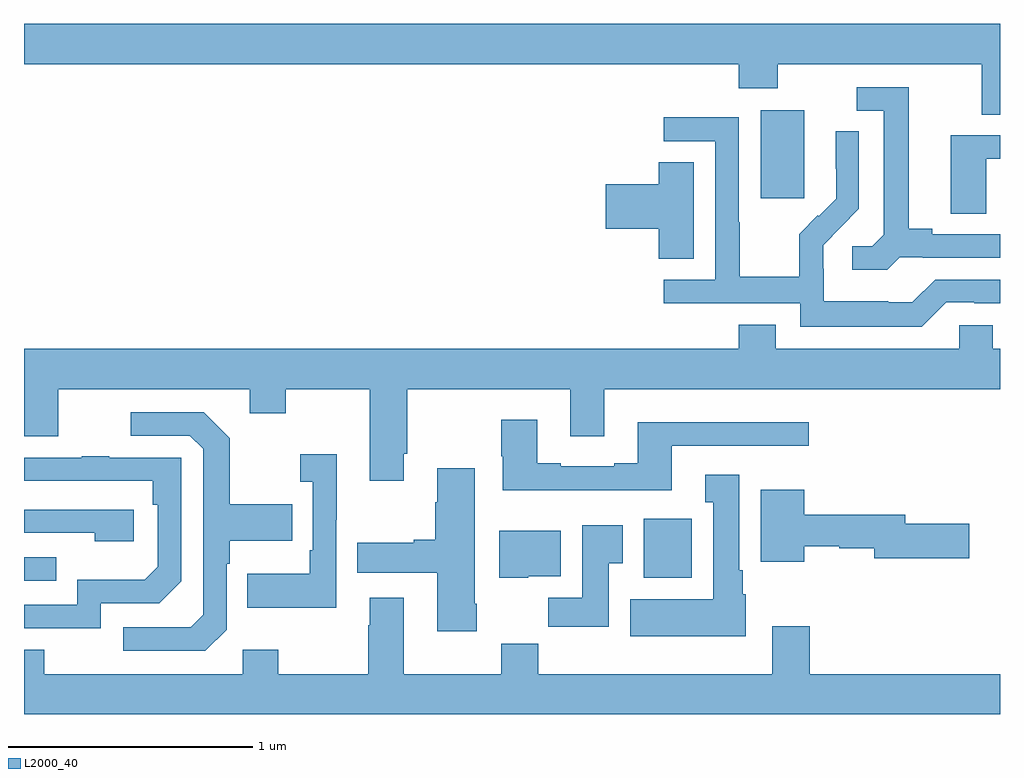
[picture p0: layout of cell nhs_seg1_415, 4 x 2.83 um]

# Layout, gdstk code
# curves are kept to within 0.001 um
import gdstk
lib = gdstk.Library(unit=1e-6, precision=1e-09)
def R(c, l, rs):  # rectangles x0, y0, x1, y1
    for r in rs: c.add(gdstk.rectangle(r[:2], r[2:], *l))
def P(c, l, *ps):  # polygons
    for p in ps: c.add(gdstk.Polygon(p, *l))
L2000_40 = (2000, 40)

nhs_seg1_415 = lib.new_cell('nhs_seg1_415')
R(nhs_seg1_415, L2000_40, [(133,566.931,133.133,567.027), (135.539,566.942,135.736,567.184), (136.019,568.497,136.198,568.858)])
P(nhs_seg1_415, L2000_40, [(137,569.212),(133,569.212),(133,569.048),(135.929,569.048),(135.929,568.949),(136.089,568.949),(136.089,569.048),(136.925,569.048),(136.925,568.84),(137,568.84)],
  [(136.59,568.257),(136.684,568.257),(136.684,568.254),(137,568.254),(137,568.35),(136.723,568.35),(136.723,568.373),(136.627,568.373),(136.627,568.953),(136.413,568.953),(136.413,568.857),(136.523,568.857),(136.523,568.349),(136.476,568.302),(136.395,568.302),(136.395,568.205),(136.538,568.205)],
  [(136.779,568.071),(136.895,568.071),(136.895,568.068),(137,568.068),(137,568.164),(136.734,568.164),(136.641,568.071),(136.541,568.071),(136.541,568.075),(136.278,568.075),(136.278,568.209),(136.276,568.209),(136.276,568.306),(136.422,568.454),(136.422,568.772),(136.326,568.772),(136.326,568.618),(136.328,568.618),(136.328,568.496),(136.257,568.425),(136.254,568.428),(136.177,568.351),(136.177,568.177),(135.933,568.177),(135.933,568.4),(135.93,568.4),(135.93,568.83),(135.621,568.83),(135.621,568.731),(135.834,568.731),(135.834,568.164),(135.621,568.164),(135.621,568.068),(136.182,568.068),(136.182,567.971),(136.679,567.971)],
  [(136.944,568.659),(137,568.659),(137,568.755),(136.799,568.755),(136.799,568.435),(136.944,568.435)],
  [(135.745,568.646),(135.602,568.646),(135.602,568.556),(135.384,568.556),(135.384,568.373),(135.602,568.373),(135.602,568.249),(135.745,568.249)],
  [(134.557,567.451),(134.57,567.451),(134.57,567.716),(135.239,567.716),(135.239,567.522),(135.379,567.522),(135.379,567.716),(137,567.716),(137,567.88),(136.971,567.88),(136.971,567.978),(136.833,567.978),(136.833,567.88),(136.081,567.88),(136.081,567.979),(135.929,567.979),(135.929,567.88),(133,567.88),(133,567.716),(133.001,567.716),(133.001,567.522),(133.141,567.522),(133.141,567.716),(133.925,567.716),(133.925,567.617),(134.073,567.617),(134.073,567.716),(134.417,567.716),(134.417,567.339),(134.557,567.339)],
  [(133.83,566.73),(133.83,566.999),(133.843,566.999),(133.843,567.095),(134.099,567.095),(134.099,567.243),(133.843,567.243),(133.843,567.515),(133.737,567.621),(133.437,567.621),(133.437,567.525),(133.68,567.525),(133.734,567.471),(133.734,566.79),(133.683,566.739),(133.407,566.739),(133.407,566.643),(133.743,566.643)],
  [(135.655,567.483),(136.216,567.483),(136.216,567.58),(135.515,567.58),(135.515,567.412),(135.419,567.412),(135.419,567.399),(135.199,567.399),(135.199,567.412),(135.103,567.412),(135.103,567.589),(134.956,567.589),(134.956,567.441),(134.963,567.441),(134.963,567.302),(135.655,567.302)],
  [(134.28,567.181),(134.281,567.181),(134.281,567.448),(134.133,567.448),(134.133,567.335),(134.184,567.335),(134.184,567.055),(134.172,567.055),(134.172,566.959),(133.915,566.959),(133.915,566.819),(134.28,566.819)],
  [(133.314,566.838),(133.554,566.838),(133.644,566.928),(133.644,567.435),(133.349,567.435),(133.349,567.44),(133.237,567.44),(133.237,567.435),(133,567.435),(133,567.339),(133.528,567.339),(133.528,567.242),(133.548,567.242),(133.548,566.988),(133.495,566.935),(133.218,566.935),(133.218,566.832),(133,566.832),(133,566.736),(133.314,566.736)],
  [(134.856,566.836),(134.848,566.836),(134.848,567.391),(134.693,567.391),(134.693,567.251),(134.686,567.251),(134.686,567.098),(134.597,567.098),(134.597,567.085),(134.365,567.085),(134.365,566.963),(134.693,566.963),(134.693,566.724),(134.856,566.724)],
  [(135.958,566.874),(135.946,566.874),(135.946,566.974),(135.931,566.974),(135.931,567.364),(135.791,567.364),(135.791,567.251),(135.824,567.251),(135.824,566.854),(135.485,566.854),(135.485,566.702),(135.958,566.702)],
  [(136.198,567.072),(136.341,567.072),(136.341,567.064),(136.484,567.064),(136.484,567.022),(136.873,567.022),(136.873,567.164),(136.612,567.164),(136.612,567.2),(136.198,567.2),(136.198,567.304),(136.019,567.304),(136.019,567.008),(136.198,567.008)],
  [(133.45,567.222),(133,567.222),(133,567.126),(133.289,567.126),(133.289,567.092),(133.45,567.092)],
  [(135.397,567.001),(135.454,567.001),(135.454,567.157),(135.287,567.157),(135.287,566.86),(135.148,566.86),(135.148,566.742),(135.397,566.742)],
  [(135.066,566.948),(135.199,566.948),(135.199,567.136),(134.948,567.136),(134.948,566.942),(135.066,566.942)],
  [(137,566.548),(136.22,566.548),(136.22,566.743),(136.067,566.743),(136.067,566.548),(135.107,566.548),(135.107,566.672),(134.956,566.672),(134.956,566.548),(134.557,566.548),(134.557,566.86),(134.417,566.86),(134.417,566.747),(134.41,566.747),(134.41,566.548),(134.043,566.548),(134.043,566.647),(133.896,566.647),(133.896,566.548),(133.083,566.548),(133.083,566.647),(133,566.647),(133,566.384),(137,566.384)])

lib.write_gds('nhs_seg1_415.gds')
